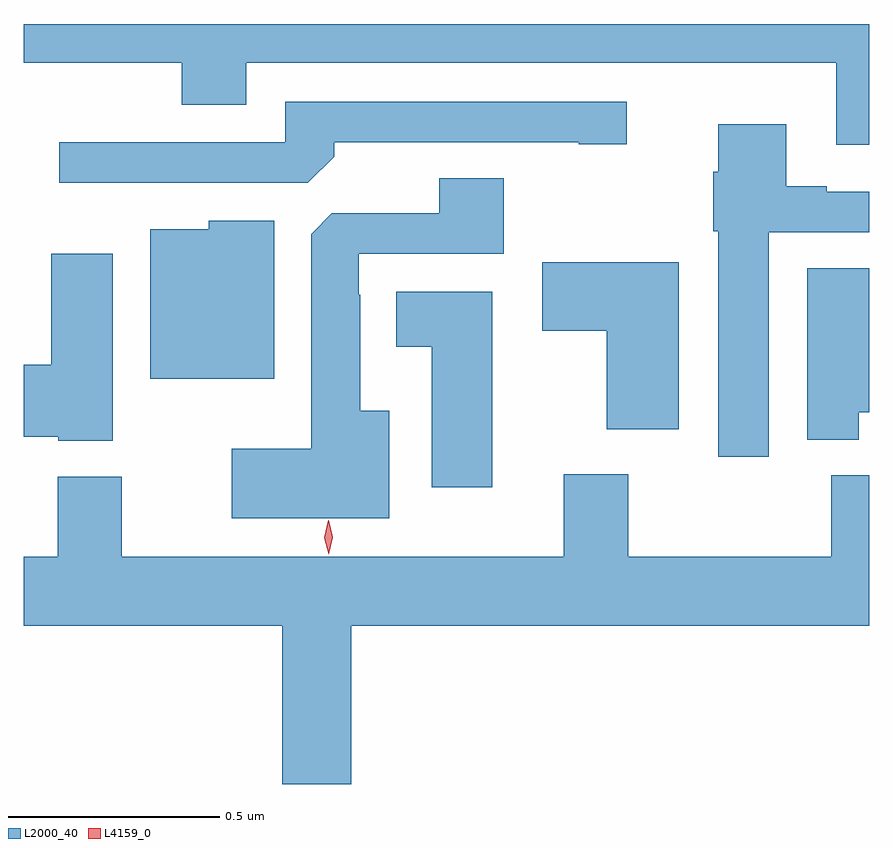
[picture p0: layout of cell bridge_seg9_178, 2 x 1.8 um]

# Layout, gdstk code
import gdstk
lib = gdstk.Library(unit=1e-6, precision=1e-09)
def P(c, l, *ps):  # polygons
    for p in ps: c.add(gdstk.Polygon(p, *l))
L2000_40 = (2000, 40)
L4159_0 = (4159, 0)

bridge_seg9_178 = lib.new_cell('bridge_seg9_178')
P(bridge_seg9_178, L2000_40, [(154.409,1235.14),(152.409,1235.14),(152.409,1235.048),(152.783,1235.048),(152.783,1234.949),(152.935,1234.949),(152.935,1235.048),(154.331,1235.048),(154.331,1234.854),(154.409,1234.854)],
  [(153.143,1234.826),(153.143,1234.86),(153.722,1234.86),(153.722,1234.855),(153.835,1234.855),(153.835,1234.956),(153.027,1234.956),(153.027,1234.86),(152.493,1234.86),(152.493,1234.764),(153.081,1234.764)],
  [(154.171,1234.647),(154.409,1234.647),(154.409,1234.743),(154.309,1234.743),(154.309,1234.756),(154.213,1234.756),(154.213,1234.903),(154.052,1234.903),(154.052,1234.79),(154.04,1234.79),(154.04,1234.65),(154.052,1234.65),(154.052,1234.116),(154.171,1234.116)],
  [(153.274,1234.225),(153.205,1234.225),(153.205,1234.499),(153.201,1234.499),(153.201,1234.596),(153.545,1234.596),(153.545,1234.775),(153.392,1234.775),(153.392,1234.692),(153.138,1234.692),(153.089,1234.643),(153.089,1234.135),(152.901,1234.135),(152.901,1233.971),(153.274,1233.971)],
  [(153.001,1234.675),(152.847,1234.675),(152.847,1234.654),(152.708,1234.654),(152.708,1234.301),(153.001,1234.301)],
  [(152.62,1234.597),(152.474,1234.597),(152.474,1234.334),(152.409,1234.334),(152.409,1234.163),(152.49,1234.163),(152.49,1234.154),(152.62,1234.154)],
  [(153.958,1234.576),(153.636,1234.576),(153.636,1234.414),(153.788,1234.414),(153.788,1234.181),(153.958,1234.181)],
  [(154.384,1234.221),(154.409,1234.221),(154.409,1234.562),(154.262,1234.562),(154.262,1234.157),(154.384,1234.157)],
  [(153.517,1234.507),(153.29,1234.507),(153.29,1234.376),(153.374,1234.376),(153.374,1234.044),(153.517,1234.044)],
  [(153.184,1233.716),(154.409,1233.716),(154.409,1234.072),(154.319,1234.072),(154.319,1233.88),(153.839,1233.88),(153.839,1234.075),(153.686,1234.075),(153.686,1233.88),(152.641,1233.88),(152.641,1234.069),(152.489,1234.069),(152.489,1233.88),(152.409,1233.88),(152.409,1233.716),(153.02,1233.716),(153.02,1233.342),(153.184,1233.342)])
P(bridge_seg9_178, L4159_0, [(153.13,1233.885),(153.13,1233.885),(153.12,1233.925),(153.129,1233.966),(153.13,1233.966),(153.13,1233.966),(153.14,1233.926),(153.13,1233.885)])

lib.write_gds('bridge_seg9_178.gds')
